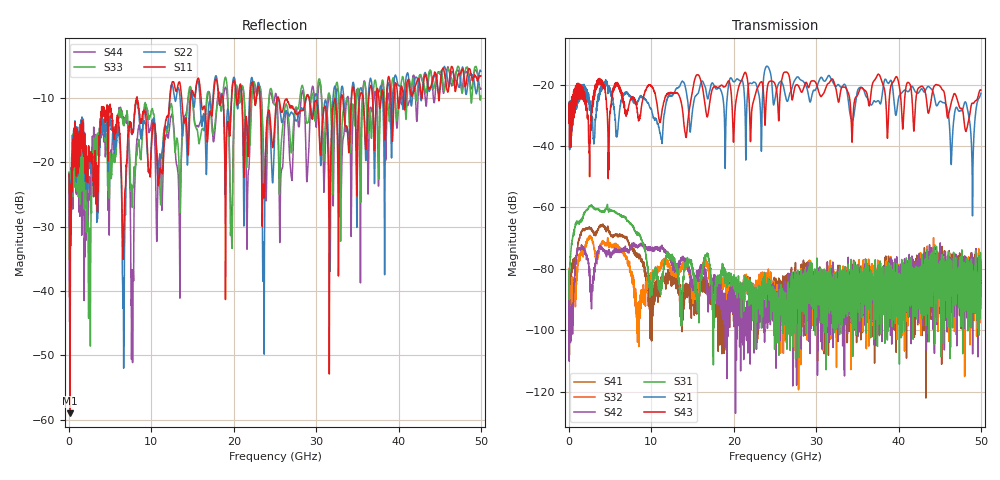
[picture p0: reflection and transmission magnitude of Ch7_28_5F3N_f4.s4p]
!Agilent Technologies,N5247A,US51170199,A.09.90.13
!Agilent N5247A: A.09.90.13
!Date: Wednesday, December 09, 2015 09:53:51
!Correction: S11(Full 4 Port(1,2,3,4))
!S12(Full 4 Port(1,2,3,4))
!S13(Full 4 Port(1,2,3,4))
!S14(Full 4 Port(1,2,3,4))
!S21(Full 4 Port(1,2,3,4))
!S22(Full 4 Port(1,2,3,4))
!S23(Full 4 Port(1,2,3,4))
!S24(Full 4 Port(1,2,3,4))
!S31(Full 4 Port(1,2,3,4))
!S32(Full 4 Port(1,2,3,4))
!S33(Full 4 Port(1,2,3,4))
!S34(Full 4 Port(1,2,3,4))
!S41(Full 4 Port(1,2,3,4))
!S42(Full 4 Port(1,2,3,4))
!S43(Full 4 Port(1,2,3,4))
!S44(Full 4 Port(1,2,3,4))
!S4P File: Measurements: <S11,S12,S13,S14>,
!<S21,S22,S23,S24>,
!<S31,S32,S33,S34>,
!<S41,S42,S43,S44>:
# Hz S  dB  R 50
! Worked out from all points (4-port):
!   3201 points, 10 MHz to 50 GHz, reference 50 ohm
!   strongest paths, dB at 10 MHz, 12.51 GHz, 25 GHz, 37.5 GHz, 50 GHz:
!     S43: -32.6, -22.6, -19.8, -16.6, -21.8
!     S21: -32.5, -23.5, -24.7, -25.2, -22.8
!     S31: -80.5, -76.1, -86.7, -83.9, -88.9
!     S42: -81.0, -77.7, -88.2, -95.3, -78.9
!     S32: -79.9, -79.6, -89.5, -83.1, -92.9
!     S41: -83.4, -83.7, -85.4, -92.8, -78.0
!   lowest |S11| = -59.0 dB at 135 MHz (marker M1), VSWR 1.00, Z = 50 + j0.107 ohm
!   |S11| at or under -10 dB: start of sweep to 8.235 GHz; 8.27 GHz to 12.25 GHz (3.984 GHz wide, 38.8 % of centre); 29.13 GHz to 33.03 GHz (3.893 GHz wide, 12.5 % of centre)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
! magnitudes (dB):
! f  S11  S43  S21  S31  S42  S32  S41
! 10 MHz  -21.9  -32.6  -32.5  -80.5  -81.0  -79.9  -83.4
! 135 MHz  -59.0  -34.3  -32.8  -78.3  -99.4  -94.0  -86.4
! 2.681 GHz  -18.3  -30.0  -27.8  -59.3  -90.6  -70.2  -67.0
! 7.68 GHz  -15.3  -24.2  -24.7  -65.9  -71.6  -82.9  -72.8
! 24.07 GHz  -13.0  -21.1  -14.0  -86.3  -97.3  -82.6  -87.2
! 48.97 GHz  -7.3  -26.0  -55.4  -86.2  -91.6  -78.1  -95.7
! 50 GHz  -6.6  -21.8  -22.8  -88.9  -78.9  -92.9  -78.0
